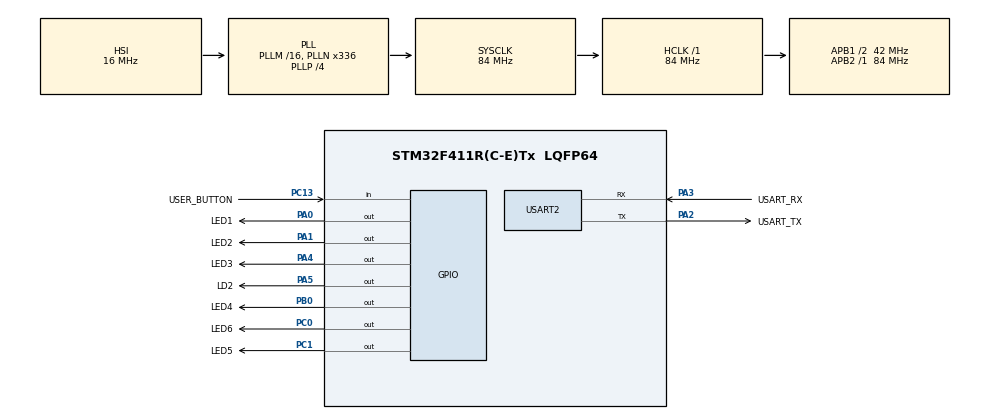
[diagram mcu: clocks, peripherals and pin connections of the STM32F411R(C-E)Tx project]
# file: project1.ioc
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Mcu.Family=STM32F4
Mcu.Name=STM32F411R(C-E)Tx
Mcu.Package=LQFP64
NVIC.PriorityGroup=NVIC_PRIORITYGROUP_0
PA0-WKUP.GPIO_Label=LED1
PA0-WKUP.Signal=GPIO_Output
PA1.GPIO_Label=LED2
PA1.Signal=GPIO_Output
PA14.GPIO_Label=TCK
PA14.Signal=SYS_JTCK-SWCLK
PA2.GPIO_Label=USART_TX
PA2.Mode=Asynchronous
PA2.Signal=USART2_TX
PA3.GPIO_Label=USART_RX
PA3.Mode=Asynchronous
PA3.Signal=USART2_RX
PA4.GPIO_Label=LED3
PA4.Signal=GPIO_Output
PA5.GPIO_Label=LD2
PA5.Signal=GPIO_Output
PB0.GPIO_Label=LED4
PB0.Signal=GPIO_Output
PB3.GPIO_Label=SWO
PB3.Signal=SYS_JTDO-SWO
PC0.GPIO_Label=LED6
PC0.Signal=GPIO_Output
PC1.GPIO_Label=LED5
PC1.Signal=GPIO_Output
PC13-ANTI_TAMP.GPIO_Label=USER_BUTTON
PC13-ANTI_TAMP.Signal=GPIO_Input
PC14-OSC32_IN.Mode=LSE-External-Oscillator
PC14-OSC32_IN.Signal=RCC_OSC32_IN
PC15-OSC32_OUT.Mode=LSE-External-Oscillator
PC15-OSC32_OUT.Signal=RCC_OSC32_OUT
PH0\ -\ OSC_IN.Mode=HSE-External-Clock-Source
PH0\ -\ OSC_IN.Signal=RCC_OSC_IN
PH1\ -\ OSC_OUT.Mode=HSE-External-Clock-Source
PH1\ -\ OSC_OUT.Signal=RCC_OSC_OUT
ProjectManager.HeapSize=0x200
ProjectManager.StackSize=0x400
ProjectManager.TargetToolchain=STM32CubeIDE
RCC.48MHZClocksFreq_Value=84000000
RCC.AHBFreq_Value=84000000
RCC.APB1CLKDivider=RCC_HCLK_DIV2
RCC.APB1Freq_Value=42000000
RCC.APB1TimFreq_Value=84000000
RCC.APB2Freq_Value=84000000
RCC.APB2TimFreq_Value=84000000
RCC.CortexFreq_Value=84000000
RCC.FLatency-AdvancedSettings=FLASH_LATENCY_2
RCC.HCLKFreq_Value=84000000
RCC.HSE_VALUE=8000000
RCC.HSI_VALUE=16000000
RCC.PLLN=336
RCC.PLLP=RCC_PLLP_DIV4
RCC.SYSCLKFreq_VALUE=84000000
RCC.SYSCLKSource=RCC_SYSCLKSOURCE_PLLCLK
RCC.VCOOutputFreq_Value=336000000
USART2.VirtualMode=VM_ASYNC
board=NUCLEO-F411RE

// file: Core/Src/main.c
/* USER CODE BEGIN Header */
/**
  ******************************************************************************
  * @file           : main.c
  * @brief          : Main program body
  ******************************************************************************
  * @attention
  *
  * Copyright (c) 2026 STMicroelectronics.
  * All rights reserved.
  *
  * This software is licensed under terms that can be found in the LICENSE file
  * in the root directory of this software component.
  * If no LICENSE file comes with this software, it is provided AS-IS.
  *
  ******************************************************************************
  */
/* USER CODE END Header */
#include "main.h"

UART_HandleTypeDef huart2;

void SystemClock_Config(void);
static void MX_GPIO_Init(void);
static void MX_USART2_UART_Init(void);

int main(void)
{

  /* USER CODE BEGIN 1 */
	GPIO_TypeDef* LED_PORTS[] = {LED1_GPIO_Port, LED2_GPIO_Port, LED3_GPIO_Port, LED4_GPIO_Port, LED5_GPIO_Port, LED6_GPIO_Port};
	uint16_t LED_PINS[] = {LED1_Pin, LED2_Pin, LED3_Pin, LED4_Pin, LED5_Pin, LED6_Pin};
	int kierunek = 0;
  /* USER CODE END 1 */

  /* MCU Configuration--------------------------------------------------------*/

  /* Reset of all peripherals, Initializes the Flash interface and the Systick. */
  HAL_Init();

  /* Configure the system clock */
  SystemClock_Config();

  /* Initialize all configured peripherals */
  MX_GPIO_Init();
  MX_USART2_UART_Init();

  /* Infinite loop */
  /* USER CODE BEGIN WHILE */
  while (1)
    {
	  /* USER CODE BEGIN WHILE */
	  while (1)
	  {
	    if (HAL_GPIO_ReadPin(GPIOC, GPIO_PIN_13) == GPIO_PIN_RESET) {
	        kierunek = !kierunek;
	        HAL_Delay(200);
	    }

	    if (kierunek == 0) {
	        for (int i = 0; i < 6; i++) {
	            HAL_GPIO_WritePin(LED_PORTS[i], LED_PINS[i], GPIO_PIN_SET);
	            HAL_Delay(100);
	            HAL_GPIO_WritePin(LED_PORTS[i], LED_PINS[i], GPIO_PIN_RESET);
	            if (HAL_GPIO_ReadPin(GPIOC, GPIO_PIN_13) == GPIO_PIN_RESET) break;
	        }
	    } else {
	        for (int i = 5; i >= 0; i--) {
	            HAL_GPIO_WritePin(LED_PORTS[i], LED_PINS[i], GPIO_PIN_SET);
	            HAL_Delay(100);
	            HAL_GPIO_WritePin(LED_PORTS[i], LED_PINS[i], GPIO_PIN_RESET);
	            if (HAL_GPIO_ReadPin(GPIOC, GPIO_PIN_13) == GPIO_PIN_RESET) break;
	        }
	    }
	  }
    /* USER CODE END WHILE */

    }
}

void SystemClock_Config(void)
{
  RCC_OscInitTypeDef RCC_OscInitStruct = {0};
  RCC_ClkInitTypeDef RCC_ClkInitStruct = {0};

  /** Configure the main internal regulator output voltage
  */
  __HAL_RCC_PWR_CLK_ENABLE();
  __HAL_PWR_VOLTAGESCALING_CONFIG(PWR_REGULATOR_VOLTAGE_SCALE1);

  /** Initializes the RCC Oscillators according to the specified parameters
  * in the RCC_OscInitTypeDef structure.
  */
  RCC_OscInitStruct.OscillatorType = RCC_OSCILLATORTYPE_HSI;
  RCC_OscInitStruct.HSIState = RCC_HSI_ON;
  RCC_OscInitStruct.HSICalibrationValue = RCC_HSICALIBRATION_DEFAULT;
  RCC_OscInitStruct.PLL.PLLState = RCC_PLL_ON;
  RCC_OscInitStruct.PLL.PLLSource = RCC_PLLSOURCE_HSI;
  RCC_OscInitStruct.PLL.PLLM = 16;
  RCC_OscInitStruct.PLL.PLLN = 336;
  RCC_OscInitStruct.PLL.PLLP = RCC_PLLP_DIV4;
  RCC_OscInitStruct.PLL.PLLQ = 4;
  if (HAL_RCC_OscConfig(&RCC_OscInitStruct) != HAL_OK)
  {
    Error_Handler();
  }

  /** Initializes the CPU, AHB and APB buses clocks
  */
  RCC_ClkInitStruct.ClockType = RCC_CLOCKTYPE_HCLK|RCC_CLOCKTYPE_SYSCLK
                              |RCC_CLOCKTYPE_PCLK1|RCC_CLOCKTYPE_PCLK2;
  RCC_ClkInitStruct.SYSCLKSource = RCC_SYSCLKSOURCE_PLLCLK;
  RCC_ClkInitStruct.AHBCLKDivider = RCC_SYSCLK_DIV1;
  RCC_ClkInitStruct.APB1CLKDivider = RCC_HCLK_DIV2;
  RCC_ClkInitStruct.APB2CLKDivider = RCC_HCLK_DIV1;

  if (HAL_RCC_ClockConfig(&RCC_ClkInitStruct, FLASH_LATENCY_2) != HAL_OK)
  {
    Error_Handler();
  }
}

static void MX_USART2_UART_Init(void)
{

  huart2.Instance = USART2;
  huart2.Init.BaudRate = 115200;
  huart2.Init.WordLength = UART_WORDLENGTH_8B;
  huart2.Init.StopBits = UART_STOPBITS_1;
  huart2.Init.Parity = UART_PARITY_NONE;
  huart2.Init.Mode = UART_MODE_TX_RX;
  huart2.Init.HwFlowCtl = UART_HWCONTROL_NONE;
  huart2.Init.OverSampling = UART_OVERSAMPLING_16;
  if (HAL_UART_Init(&huart2) != HAL_OK)
  {
    Error_Handler();
  }

}

static void MX_GPIO_Init(void)
{
  GPIO_InitTypeDef GPIO_InitStruct = {0};

  /* GPIO Ports Clock Enable */
  __HAL_RCC_GPIOC_CLK_ENABLE();
  __HAL_RCC_GPIOH_CLK_ENABLE();
  __HAL_RCC_GPIOA_CLK_ENABLE();
  __HAL_RCC_GPIOB_CLK_ENABLE();

  /*Configure GPIO pin Output Level */
  HAL_GPIO_WritePin(GPIOC, LED6_Pin|LED5_Pin, GPIO_PIN_RESET);

  /*Configure GPIO pin Output Level */
  HAL_GPIO_WritePin(GPIOA, LED1_Pin|LED2_Pin|LED3_Pin|LD2_Pin, GPIO_PIN_RESET);

  /*Configure GPIO pin Output Level */
  HAL_GPIO_WritePin(LED4_GPIO_Port, LED4_Pin, GPIO_PIN_RESET);

  /*Configure GPIO pin : USER_BUTTON_Pin */
  GPIO_InitStruct.Pin = USER_BUTTON_Pin;
  GPIO_InitStruct.Mode = GPIO_MODE_INPUT;
  GPIO_InitStruct.Pull = GPIO_NOPULL;
  HAL_GPIO_Init(USER_BUTTON_GPIO_Port, &GPIO_InitStruct);

  /*Configure GPIO pins : LED6_Pin LED5_Pin */
  GPIO_InitStruct.Pin = LED6_Pin|LED5_Pin;
  GPIO_InitStruct.Mode = GPIO_MODE_OUTPUT_PP;
  GPIO_InitStruct.Pull = GPIO_NOPULL;
  GPIO_InitStruct.Speed = GPIO_SPEED_FREQ_LOW;
  HAL_GPIO_Init(GPIOC, &GPIO_InitStruct);

  /*Configure GPIO pins : LED1_Pin LED2_Pin LED3_Pin LD2_Pin */
  GPIO_InitStruct.Pin = LED1_Pin|LED2_Pin|LED3_Pin|LD2_Pin;
  GPIO_InitStruct.Mode = GPIO_MODE_OUTPUT_PP;
  GPIO_InitStruct.Pull = GPIO_NOPULL;
  GPIO_InitStruct.Speed = GPIO_SPEED_FREQ_LOW;
  HAL_GPIO_Init(GPIOA, &GPIO_InitStruct);

  /*Configure GPIO pin : LED4_Pin */
  GPIO_InitStruct.Pin = LED4_Pin;
  GPIO_InitStruct.Mode = GPIO_MODE_OUTPUT_PP;
  GPIO_InitStruct.Pull = GPIO_NOPULL;
  GPIO_InitStruct.Speed = GPIO_SPEED_FREQ_LOW;
  HAL_GPIO_Init(LED4_GPIO_Port, &GPIO_InitStruct);

}

void Error_Handler(void)
{
  __disable_irq();
  while (1)
  {
  }
}
